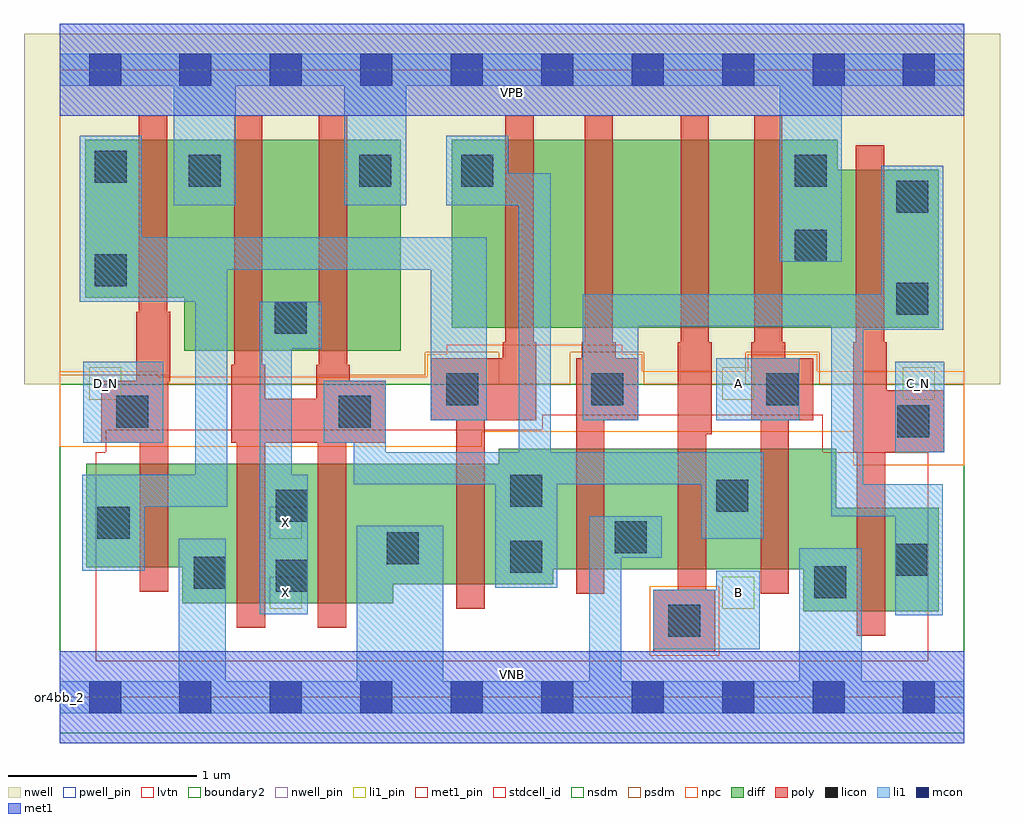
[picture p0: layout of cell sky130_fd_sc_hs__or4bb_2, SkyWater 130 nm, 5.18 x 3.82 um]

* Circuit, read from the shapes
.subckt sky130_fd_sc_hs__or4bb_2 A B C_N D_N VGND VNB VPB VPWR X
XM1 VGND D_N n1 VNB sky130_fd_pr__nfet_01v8_lvt w=0.55 l=0.15
XM2 X n2 VGND VNB sky130_fd_pr__nfet_01v8_lvt w=0.74 l=0.15 m=2
XM3 n2 n1 VGND VNB sky130_fd_pr__nfet_01v8_lvt w=0.64 l=0.15
XM4 VGND n3 n2 VNB sky130_fd_pr__nfet_01v8_lvt w=0.64 l=0.15
XM5 n2 B VGND VNB sky130_fd_pr__nfet_01v8_lvt w=0.64 l=0.15
XM6 VGND A n2 VNB sky130_fd_pr__nfet_01v8_lvt w=0.64 l=0.15
XM7 n3 C_N VGND VNB sky130_fd_pr__nfet_01v8_lvt w=0.55 l=0.15
XM8 VPWR D_N n1 VPB sky130_fd_pr__pfet_01v8 w=0.84 l=0.15
XM9 X n2 VPWR VPB sky130_fd_pr__pfet_01v8 w=1.12 l=0.15 m=2
XM10 n4 n1 n2 VPB sky130_fd_pr__pfet_01v8 w=1 l=0.15
XM11 n5 n3 n4 VPB sky130_fd_pr__pfet_01v8 w=1 l=0.15
XM12 n6 B n5 VPB sky130_fd_pr__pfet_01v8 w=1 l=0.15
XM13 VPWR A n6 VPB sky130_fd_pr__pfet_01v8 w=1 l=0.15
XM14 n3 C_N VPWR VPB sky130_fd_pr__pfet_01v8 w=0.84 l=0.15
.ends

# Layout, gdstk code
import gdstk
lib = gdstk.Library(unit=1e-6, precision=1e-09)
def R(c, l, rs):  # rectangles x0, y0, x1, y1
    for r in rs: c.add(gdstk.rectangle(r[:2], r[2:], *l))
def A(c, l, x, y, w, h, nx, ny, dx, dy):  # array of equal rectangles
    R(c, l, [(x+i*dx, y+j*dy, x+i*dx+w, y+j*dy+h) for i in range(nx) for j in range(ny)])
def P(c, l, *ps):  # polygons
    for p in ps: c.add(gdstk.Polygon(p, *l))
nwell_pin = (64, 16)
nwell = (64, 20)
diff = (65, 20)
poly = (66, 20)
licon = (66, 44)
li1_pin = (67, 16)
li1 = (67, 20)
mcon = (67, 44)
met1_pin = (68, 16)
met1 = (68, 20)
stdcell_id = (81, 4)
nsdm = (93, 44)
psdm = (94, 20)
npc = (95, 20)
pwell_pin = (122, 16)
lvtn = (125, 44)
boundary2 = (236, 0)

sky130_fd_sc_hs__or4bb_2 = lib.new_cell('sky130_fd_sc_hs__or4bb_2')
R(sky130_fd_sc_hs__or4bb_2, nwell_pin, [(0,3.085,4.8,3.33)])
R(sky130_fd_sc_hs__or4bb_2, nwell, [(-0.19,1.66,4.99,3.52)])
P(sky130_fd_sc_hs__or4bb_2, diff, [(1.81,2.96),(0.135,2.96),(0.135,2.12),(0.66,2.12),(0.66,1.84),(1.81,1.84)],
  [(4.665,2.8),(4.13,2.8),(4.13,2.96),(2.08,2.96),(2.08,1.96),(4.665,1.96)],
  [(4.665,1.005),(4.12,1.005),(4.12,1.32),(2.33,1.32),(2.33,1.24),(0.14,1.24),(0.14,0.69),(0.65,0.69),(0.65,0.5),(1.77,0.5),(1.77,0.6),(2.62,0.6),(2.62,0.68),(3.945,0.68),(3.945,0.455),(4.665,0.455)])
P(sky130_fd_sc_hs__or4bb_2, poly, [(1.73,1.68),(1.54,1.68),(1.54,1.765),(1.525,1.765),(1.525,3.09),(1.375,3.09),(1.375,1.765),(1.36,1.765),(1.36,1.585),(1.09,1.585),(1.09,1.765),(1.075,1.765),(1.075,3.09),(0.925,3.09),(0.925,1.765),(0.91,1.765),(0.91,1.35),(0.94,1.35),(0.94,0.37),(1.09,0.37),(1.09,1.35),(1.37,1.35),(1.37,0.37),(1.52,0.37),(1.52,1.35),(1.73,1.35)],
  [(2.53,1.885),(2.515,1.885),(2.515,3.09),(2.365,3.09),(2.365,1.885),(2.35,1.885),(2.35,1.8),(1.97,1.8),(1.97,1.47),(2.105,1.47),(2.105,0.47),(2.255,0.47),(2.255,1.47),(2.53,1.47)],
  [(3.07,1.8),(2.95,1.8),(2.95,1.885),(2.935,1.885),(2.935,3.09),(2.785,3.09),(2.785,1.885),(2.77,1.885),(2.77,1.8),(2.74,1.8),(2.74,0.55),(2.89,0.55),(2.89,1.47),(3.07,1.47)],
  [(3.48,0.57),(3.43,0.57),(3.43,1.395),(3.46,1.395),(3.46,1.885),(3.445,1.885),(3.445,3.09),(3.295,3.09),(3.295,1.885),(3.28,1.885),(3.28,0.57),(3.15,0.57),(3.15,0.24),(3.48,0.24)],
  [(4,1.8),(3.85,1.8),(3.85,1.885),(3.835,1.885),(3.835,3.09),(3.685,3.09),(3.685,1.885),(3.67,1.885),(3.67,1.47),(3.72,1.47),(3.72,0.55),(3.87,0.55),(3.87,1.47),(4,1.47)],
  [(4.695,1.63),(4.39,1.63),(4.39,1.885),(4.375,1.885),(4.375,2.93),(4.225,2.93),(4.225,1.885),(4.21,1.885),(4.21,1.3),(4.23,1.3),(4.23,0.325),(4.38,0.325),(4.38,1.3),(4.695,1.3)],
  [(0.585,2.045),(0.57,2.045),(0.57,3.09),(0.42,3.09),(0.42,2.045),(0.405,2.045),(0.405,1.68),(0.22,1.68),(0.22,1.35),(0.425,1.35),(0.425,0.56),(0.575,0.56),(0.575,1.68),(0.585,1.68)])
R(sky130_fd_sc_hs__or4bb_2, licon, [(3.23,0.32,3.4,0.49), (4.005,0.525,4.175,0.695), (1.145,0.56,1.315,0.73), (0.71,0.575,0.88,0.745), (4.435,0.645,4.605,0.815), (2.39,0.66,2.56,0.83), (1.735,0.705,1.905,0.875), (2.945,0.765,3.115,0.935), (0.2,0.84,0.37,1.01), (1.145,0.93,1.315,1.1), (3.485,0.985,3.655,1.155), (2.39,1.01,2.56,1.18), (4.445,1.38,4.615,1.55), (0.3,1.43,0.47,1.6), (1.48,1.43,1.65,1.6), (2.05,1.55,2.22,1.72), (2.82,1.55,2.99,1.72), (3.75,1.55,3.92,1.72), (1.14,1.93,1.31,2.1), (4.44,2.03,4.61,2.2), (0.185,2.18,0.355,2.35), (3.9,2.31,4.07,2.48), (4.44,2.57,4.61,2.74), (0.685,2.71,0.855,2.88), (1.59,2.71,1.76,2.88), (2.13,2.71,2.3,2.88), (3.9,2.71,4.07,2.88), (0.185,2.73,0.355,2.9)])
R(sky130_fd_sc_hs__or4bb_2, li1_pin, [(1.115,0.47,1.285,0.64), (3.515,0.47,3.685,0.64), (1.115,0.84,1.285,1.01), (0.155,1.58,0.325,1.75), (3.515,1.58,3.685,1.75), (4.475,1.58,4.645,1.75)])
R(sky130_fd_sc_hs__or4bb_2, li1, [(4.435,1.3,4.695,1.78), (0.125,1.35,0.55,1.78), (3.485,1.47,3.925,1.8)])
P(sky130_fd_sc_hs__or4bb_2, li1, [(3.82,2.31),(3.82,3.245),(1.84,3.245),(1.84,2.61),(1.51,2.61),(1.51,3.245),(0.935,3.245),(0.935,2.61),(0.605,2.61),(0.605,3.245),(0,3.245),(0,3.415),(4.8,3.415),(4.8,3.245),(4.15,3.245),(4.15,2.31)],
  [(0.63,0.085),(0.63,0.84),(0.88,0.84),(0.88,0.085),(1.575,0.085),(1.575,0.91),(2.035,0.91),(2.035,0.085),(2.81,0.085),(2.81,0.96),(3.195,0.96),(3.195,0.74),(2.98,0.74),(2.98,0.085),(3.925,0.085),(3.925,0.79),(4.255,0.79),(4.255,0.085),(4.8,0.085),(4.8,-0.085),(0,-0.085),(0,0.085)],
  [(1.23,1.85),(1.23,1.18),(1.315,1.18),(1.315,0.44),(1.06,0.44),(1.06,2.1),(1.39,2.1),(1.39,1.85)],
  [(2.775,2.14),(4.36,2.14),(4.36,2.82),(4.69,2.82),(4.69,1.95),(4.265,1.95),(4.265,1.13),(4.685,1.13),(4.685,0.435),(4.435,0.435),(4.435,0.96),(4.095,0.96),(4.095,1.97),(3.07,1.97),(3.07,1.47),(2.775,1.47)],
  [(3.15,0.255),(3.15,0.57),(3.485,0.57),(3.485,0.67),(3.715,0.67),(3.715,0.255)],
  [(0.435,2.44),(2.265,2.44),(2.265,1.47),(1.97,1.47),(1.97,2.27),(0.89,2.27),(0.89,1.01),(0.45,1.01),(0.45,0.67),(0.12,0.67),(0.12,1.18),(0.72,1.18),(0.72,2.1),(0.105,2.1),(0.105,2.98),(0.435,2.98)],
  [(2.38,2.78),(2.605,2.78),(2.605,1.3),(3.735,1.3),(3.735,0.84),(3.405,0.84),(3.405,1.13),(2.64,1.13),(2.64,0.58),(2.31,0.58),(2.31,1.13),(1.56,1.13),(1.56,1.35),(1.4,1.35),(1.4,1.68),(1.73,1.68),(1.73,1.3),(2.435,1.3),(2.435,2.61),(2.05,2.61),(2.05,2.98),(2.38,2.98)])
A(sky130_fd_sc_hs__or4bb_2, mcon, 0.155, -0.085, 0.17, 0.17, 10, 2, 0.48, 3.33)
R(sky130_fd_sc_hs__or4bb_2, met1_pin, [(0,0,4.8,0.245), (0,3.085,4.8,3.33)])
R(sky130_fd_sc_hs__or4bb_2, met1, [(0,-0.245,4.8,0.245), (0,3.085,4.8,3.575)])
R(sky130_fd_sc_hs__or4bb_2, stdcell_id, [(0,0,4.8,3.33)])
R(sky130_fd_sc_hs__or4bb_2, nsdm, [(0,-0.19,4.8,1.66)])
P(sky130_fd_sc_hs__or4bb_2, psdm, [(4.8,3.52),(0,3.52),(0,1.71),(0.58,1.71),(0.58,1.66),(1.37,1.66),(1.37,1.71),(1.94,1.71),(1.94,1.83),(2.33,1.83),(2.33,1.66),(2.71,1.66),(2.71,1.83),(3.1,1.83),(3.1,1.66),(3.64,1.66),(3.64,1.83),(4.03,1.83),(4.03,1.66),(4.8,1.66)])
R(sky130_fd_sc_hs__or4bb_2, npc, [(3.13,0.22,3.5,0.59)])
P(sky130_fd_sc_hs__or4bb_2, npc, [(4.8,1.73),(4.02,1.73),(4.02,1.82),(3.65,1.82),(3.65,1.73),(3.09,1.73),(3.09,1.82),(2.985,1.82),(2.985,1.87),(2.055,1.87),(2.055,1.82),(1.95,1.82),(1.95,1.7),(0.52,1.7),(0.52,1.73),(0,1.73),(0,1.33),(2.24,1.33),(2.24,1.41),(4.21,1.41),(4.21,1.23),(4.8,1.23)])
R(sky130_fd_sc_hs__or4bb_2, pwell_pin, [(0,0,4.8,0.245)])
P(sky130_fd_sc_hs__or4bb_2, lvtn, [(4.61,1.3),(4.05,1.3),(4.05,1.5),(2.56,1.5),(2.56,1.42),(0.245,1.42),(0.245,1.3),(0.19,1.3),(0.19,0.19),(4.61,0.19)])
R(sky130_fd_sc_hs__or4bb_2, boundary2, [(0,0,4.8,3.33)])
sky130_fd_sc_hs__or4bb_2.add(gdstk.Label('or4bb_2', (0,0), layer=83, texttype=44))
sky130_fd_sc_hs__or4bb_2.add(gdstk.Label('VNB', (2.4,0.123), layer=64, texttype=59))
sky130_fd_sc_hs__or4bb_2.add(gdstk.Label('VPB', (2.4,3.208), layer=64, texttype=5))
sky130_fd_sc_hs__or4bb_2.add(gdstk.Label('VPWR', (2.4,3.208), layer=68, texttype=5))
sky130_fd_sc_hs__or4bb_2.add(gdstk.Label('VGND', (2.4,0.123), layer=68, texttype=5))
sky130_fd_sc_hs__or4bb_2.add(gdstk.Label('X', (1.2,0.555), layer=67, texttype=5))
sky130_fd_sc_hs__or4bb_2.add(gdstk.Label('X', (1.2,0.925), layer=67, texttype=5))
sky130_fd_sc_hs__or4bb_2.add(gdstk.Label('D_N', (0.24,1.665), layer=67, texttype=5))
sky130_fd_sc_hs__or4bb_2.add(gdstk.Label('C_N', (4.56,1.665), layer=67, texttype=5))
sky130_fd_sc_hs__or4bb_2.add(gdstk.Label('B', (3.6,0.555), layer=67, texttype=5))
sky130_fd_sc_hs__or4bb_2.add(gdstk.Label('A', (3.6,1.665), layer=67, texttype=5))

lib.write_gds('sky130_fd_sc_hs__or4bb_2.gds')
